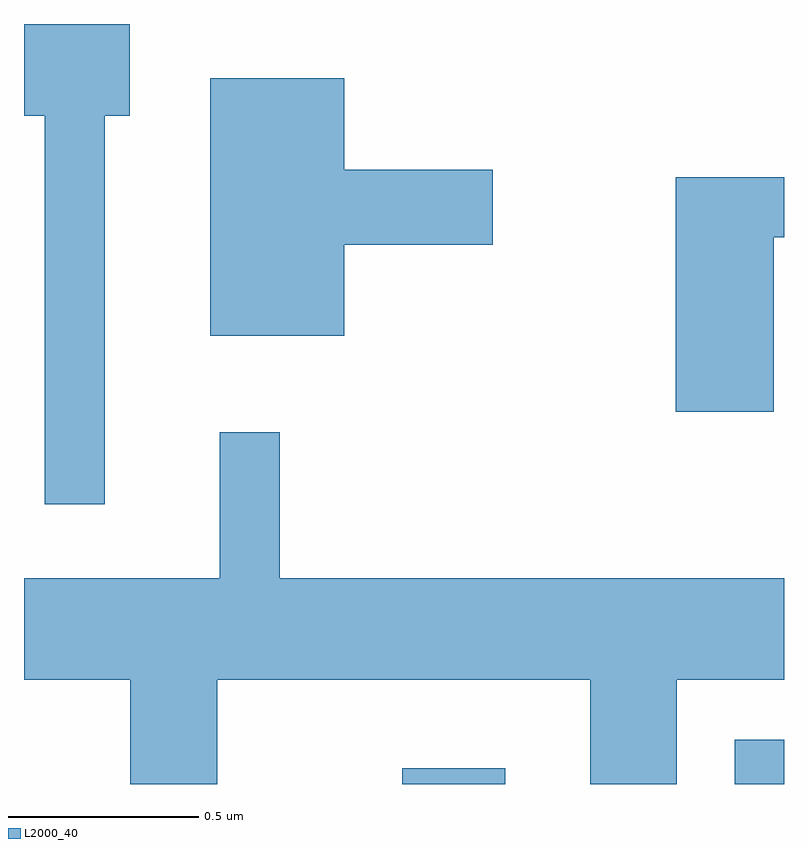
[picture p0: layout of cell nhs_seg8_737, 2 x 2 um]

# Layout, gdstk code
import gdstk
lib = gdstk.Library(unit=1e-6, precision=1e-09)
def R(c, l, rs):  # rectangles x0, y0, x1, y1
    for r in rs: c.add(gdstk.rectangle(r[:2], r[2:], *l))
def P(c, l, *ps):  # polygons
    for p in ps: c.add(gdstk.Polygon(p, *l))
L2000_40 = (2000, 40)

nhs_seg8_737 = lib.new_cell('nhs_seg8_737')
R(nhs_seg8_737, L2000_40, [(191.606,1858.342,191.878,1858.384), (192.481,1858.342,192.611,1858.459)])
P(nhs_seg8_737, L2000_40, [(190.824,1860.101),(190.889,1860.101),(190.889,1860.342),(190.611,1860.342),(190.611,1860.101),(190.666,1860.101),(190.666,1859.078),(190.824,1859.078)],
  [(191.454,1859.761),(191.844,1859.761),(191.844,1859.959),(191.454,1859.959),(191.454,1860.199),(191.101,1860.199),(191.101,1859.521),(191.454,1859.521)],
  [(192.584,1859.781),(192.611,1859.781),(192.611,1859.939),(192.326,1859.939),(192.326,1859.321),(192.584,1859.321)],
  [(191.119,1858.616),(192.101,1858.616),(192.101,1858.342),(192.329,1858.342),(192.329,1858.616),(192.611,1858.616),(192.611,1858.884),(191.284,1858.884),(191.284,1859.268),(191.126,1859.268),(191.126,1858.884),(190.611,1858.884),(190.611,1858.616),(190.891,1858.616),(190.891,1858.342),(191.119,1858.342)])

lib.write_gds('nhs_seg8_737.gds')
